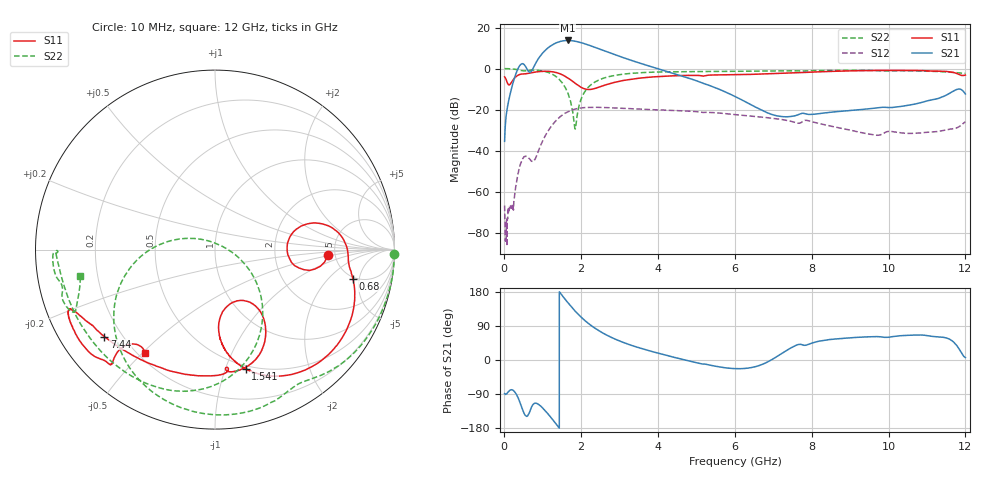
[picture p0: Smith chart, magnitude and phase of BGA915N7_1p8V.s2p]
! Infineon Technologies AG
! BGA915N7
! Silicon Germanium GPS Low Noise Amplifier in TSNP-7-6
! Vcc=1.8 V, PON=1.8 V, Icc=4.4 mA (On-Mode)
! measured on Application Board BGA915N7 V1.0
! C1=1uF, C2=0Ohm (Jumper), L1=82nH, L2=0Ohm (Jumper), C3: not used
! Measured S- and Noise Parameters
! Frequency  S11  S21  S12  S22
# Hz S  dB  R 50
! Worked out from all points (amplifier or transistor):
!   1560 points, 10 MHz to 12 GHz, reference 50 ohm
!   highest |S21| = 13.7 dB at 1.651 GHz (marker M1)
!   |S21| within 3 dB of that: 1.181 GHz to 2.31 GHz (1.128 GHz wide, 64.6 % of centre)
!   unconditionally stable (mu >= 1): start of sweep to end of sweep
!   at 1.521 GHz: K = 1.06, MAG = 16.5 dB, |S12| = -22.5 dB
!   at 4.21 GHz: K = 1.57, MAG = 5.1 dB, |S12| = -20.2 dB
!   at 12 GHz: K = 8.90, MAG = -5.7 dB, |S12| = -25.9 dB
!   lowest NFmin = 0.54 dB at 1.575 GHz
!   S11 on the Smith chart (normalised r, x): 10 MHz: 4.37, -0.41; 680 MHz: 4.81, -4.04; 1.541 GHz: 0.47, -1.18; 7.44 GHz: 0.14, -0.34; 12 GHz: 0.23, -0.51
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1e7  -4.01 -2.6  -35.43 -88.7  -66.72 47.2  -0.00 -1.3
1e8  -7.56 -6.9  -17.05 -84.8  -67.93 136.8  -0.02 -13.1
3.4e8  -3.43 9.6  -0.75 -95.3  -53.08 -174.3  -0.50 -43.4
4.3e8  -2.71 1.8  2.04 -117.8  -46.07 166.9  -0.91 -52.8
5.2e8  -2.56 -4.4  1.95 -141.5  -42.89 142.3  -1.09 -59.7
6.8e8  -2.10 -11.9  -1.70 -132.0  -44.51 125.5  -0.75 -74.6
8.8e8  -1.49 -24.2  4.60 -116.2  -40.59 173.3  -0.80 -96.7
1.14e9  -1.31 -43.5  10.13 -142.4  -30.41 167.0  -1.81 -126.0
1.4e9  -2.17 -64.9  12.92 -175.5  -24.37 141.7  -4.67 -157.3
1.541e9  -3.28 -75.6  13.58 166.0  -22.23 126.4  -7.74 -175.2
1.651e9  -4.48 -82.3  13.74 151.9  -21.03 114.5  -11.68 169.7
1.81e9  -6.61 -87.2  13.48 133.0  -19.88 98.4  -24.93 123.9
2.01e9  -9.21 -82.6  12.61 112.2  -19.14 80.9  -14.38 -26.8
2.32e9  -9.86 -61.8  10.66 86.8  -18.82 59.7  -6.99 -53.5
2.67e9  -7.73 -53.9  8.25 65.6  -18.99 42.4  -4.17 -71.4
3.26e9  -5.26 -58.8  4.35 40.4  -19.53 22.8  -2.36 -91.4
4.01e9  -3.86 -67.9  -0.10 17.8  -20.11 5.8  -1.63 -110.9
6.01e9  -2.92 -103.6  -13.63 -22.7  -22.41 -31.4  -1.30 -161.5
7.44e9  -2.12 -141.8  -23.36 30.5  -25.55 -50.5  -1.05 -178.5
8.01e9  -1.69 -151.5  -22.28 44.8  -25.88 -55.9  -0.98 -178.8
1.001e10  -0.86 -149.6  -18.96 60.2  -30.58 -44.7  -1.09 -164.6
1.2e10  -3.13 -124.3  -12.33 6.5  -25.92 -48.7  -2.33 -169.0
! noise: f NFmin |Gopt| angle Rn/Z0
1.575e+09  0.54  0.36  44  0.14
1.61e+09  0.54  0.36  45  0.14
